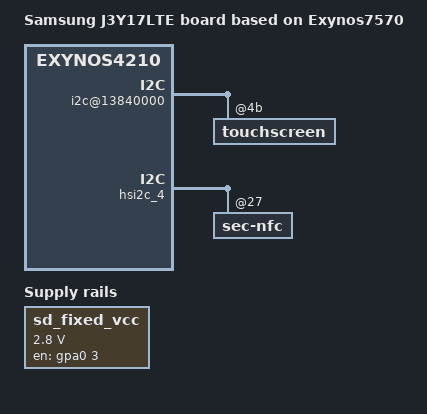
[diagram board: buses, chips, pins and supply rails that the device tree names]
/*
 * SAMSUNG UNIVERSAL7570 board device tree source
 *
 * Copyright (c) 2013 Samsung Electronics Co., Ltd.
 *		http://www.samsung.com
 *
 * This program is free software; you can redistribute it and/or modify
 * it under the terms of the GNU General Public License version 2 as
 * published by the Free Software Foundation.
 */

/dts-v1/;
#include "exynos7570-rmem.dtsi"
#include "exynos7570-j3y17lte_common.dtsi"
#include "modem-ss305ap-pdata.dtsi"
#include "exynos7570-j3y17lte_battery.dtsi"
#include "exynos7570-j3y17lte_eur_open_gpio_04.dtsi"

/ {
	model = "Samsung J3Y17LTE board based on Exynos7570";
	model_info-chip = <7570>;
	model_info-platform = "android";
	model_info-subtype = "samsung";
	model_info-hw_rev = <4>;
	model_info-hw_rev_end = <255>;
	compatible = "samsung,exynos7570", "samsung,exynos4210";

	pinctrl@139B0000 {
		fm_lna_en: fm-lna-en {
			samsung,pins = "gpd1-0";
			samsung,pin-function = <1>;
			samsung,pin-pud = <0>;
			samsung,pin-val = <0>;
		};
	};

	fm_gpio: fm@14840000 {
		elna_gpio = <&gpd1 0 0x1>; /* FM_LNA_EN */
		fm_iclk_aux = <0>;
		pinctrl-names = "default";
		pinctrl-0 = <&fm_lna_en>;
		sw_mute_weak = <1>;
		status = "okay";
	};

	pinctrl@139E0000 {
		gpc7: gpc7 {
			gpio-controller;
			#gpio-cells = <2>;

			interrupt-controller;
			#interrupt-cells = <2>;
		};
	};

	speedy@10510000 {
		s2mpu06mfd@00 {
			regulators {
				ldo16_reg: LDO16 {
					regulator-name = "VDD_MOTOR_3P3";
					regulator-min-microvolt = <3300000>;
					regulator-max-microvolt = <3300000>;
					regulator-ramp-delay = <12000>;
					regulator-initial-mode = <0>;
				};
			};
		};
	};

	sec_vib {
		compatible = "sec_vib";
		sec_vib_pdata {
			status = "okay";
			sec_vib,max_timeout = <10000>;
			/* 0: pmic ldo, 1: external ldo */
			sec_vib,ldo_type = <0>;
			sec_vib,regulator = "VDD_MOTOR_3P3";
		};
	};

	pinctrl@139F0000 {
		dwmmc2_tflash_en: dwmmc2_tflash_en {
			   samsung,pins = "gpa0-3";
			   samsung,pin-function = <0x1>;
			   samsung,pin-val = <1>;
			   samsung,pin-pud = <0>;
			   samsung,pin-drv = <4>;
		};
	};

	dwmmc2@13560000 {
		pinctrl-names = "default",
			"fast-slew-rate-1x",
			"fast-slew-rate-2x",
			"fast-slew-rate-3x",
			"fast-slew-rate-4x";
		pinctrl-0 = <&sd2_clk &sd2_cmd &sd2_bus1 &sd2_bus4
			     &dwmmc2_cd_ext_irq &dwmmc2_tflash_en>;
		pinctrl-1 = <&sd2_clk_fast_slew_rate_1x>;
		pinctrl-2 = <&sd2_clk_fast_slew_rate_2x>;
		pinctrl-3 = <&sd2_clk_fast_slew_rate_3x>;
		pinctrl-4 = <&sd2_clk_fast_slew_rate_4x>;
	};

	sd_fixed_vcc: fixedregulator@1 {
		      compatible = "regulator-fixed";
		      regulator-name = "vmmc";
		      gpio = <&gpa0 3 1>;
		      regulator-min-microvolt = <2800000>;
		      regulator-max-microvolt = <2800000>;
		      regulator-initial-mode = <0>;
		      enable-active-high;
		      regulator-boot-on;
	};

	pinctrl@139B0000 {
		fimc_is_flash_host: fimc-is-flash-host {
			samsung,pins = "gpf3-3";
			samsung,pin-function = <1>;
			samsung,pin-pud = <1>;
			samsung,pin-drv = <0>;
		};
		fimc_is_flash_is: fimc-is-flash-is {
			samsung,pins = "gpf3-3";
			samsung,pin-function = <1>;
			samsung,pin-pud = <1>;
			samsung,pin-drv = <0>;
		};
	};

	leds_ktd2692 {
		compatible = "ktd2692";
		flash_control = <&gpf3 3 0x1>;
		status = "okay";
		pinctrl-names ="default","host","is";
		pinctrl-0 = <&fimc_is_flash_is>;
		pinctrl-1 = <&fimc_is_flash_host>;
		pinctrl-2 = <&fimc_is_flash_is>;
	};

	i2c@13840000 {
		touchscreen@4b {
			synaptics,project_name = "J3y","J330";
			synaptics,firmware_name = "tsp_synaptics/td4100_j3y17.fw";
			synaptics,firmware_name_bl = "tsp_synaptics/td4100_j3y17_recovery.fw";
		};
	};
	
	/* modem_interface */
	mif_pdata {
		reg = <0 0x10000 0x0>;

		pinctrl-names = "default";
		pinctrl-0 = <&cp_gpio_j3y17_rev1>;
	};

	/* USIM DETECTION FOR CP */
	usim_det {
		pinctrl-names = "default";
		pinctrl-0 = <&sim0_gpio_on5 &sim1_gpio_on5>;

		mif,num_of_usim_det = <2>;
		mif,usim-det0-gpio = <&gpa1 4 0>;
		mif,usim-det1-gpio = <&gpa2 4 0>;

	};

	hsi2c_4: hsi2c@138B0000 {
		sec-nfc@27 {
			sec-nfc,check_nfc = <&gpa2 5 0>;

			pinctrl-names = "default";
			pinctrl-0 = <&nfc_pd &nfc_firm &nfc_int &nfc_clk &nfc_pvdd_en &nfc_clk_req>;
		};
	};
};
